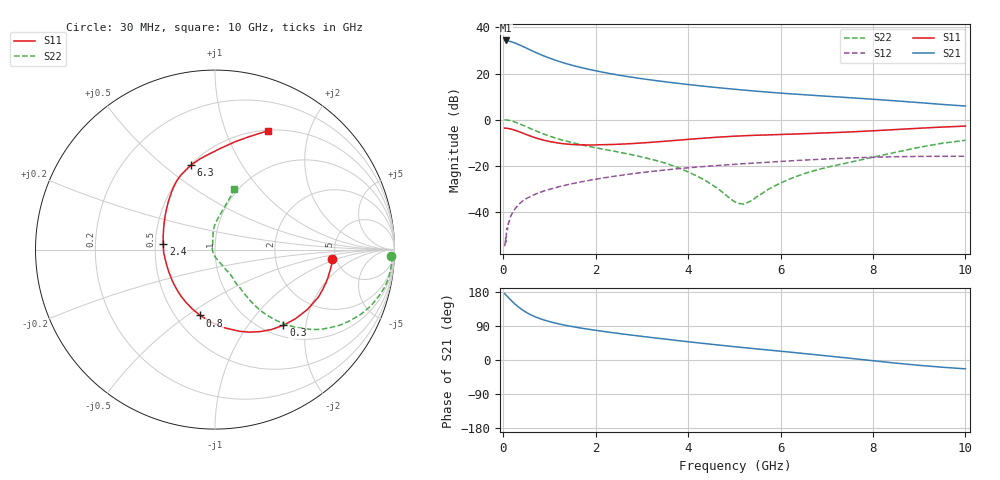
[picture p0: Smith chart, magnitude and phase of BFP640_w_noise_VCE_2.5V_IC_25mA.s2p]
! Infineon Technologies  Discrete & RF Semiconductors
! BFP640
! VCE =  2.5 V,  IC =  25 mA
! Common Emitter S-Parameters:  Apr 2013
# GHz  S  MA  R  50
!  f  S11  S21  S12  S22
! GHz  MAG  ANG  MAG  ANG  MAG  ANG  MAG  ANG
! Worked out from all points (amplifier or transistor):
!   99 points, 30 MHz to 10 GHz, reference 50 ohm
!   highest |S21| = 34.4 dB at 50 MHz (marker M1)
!   |S21| within 3 dB of that: start of sweep to 465.9 MHz
!   unconditionally stable (mu >= 1): 2.46 GHz to end of sweep
!   at 350 MHz: K = 0.32, MSG = 34.5 dB, |S12| = -36.5 dB
!   at 3.5 GHz: K = 1.05, MAG = 17.8 dB, |S12| = -21.9 dB
!   at 10 GHz: K = 1.07, MAG = 9.3 dB, |S12| = -15.9 dB
!   lowest NFmin = 0.95 dB at 450 MHz
!   S11 on the Smith chart (normalised r, x): 30 MHz: 4.63, -0.87; 300 MHz: 1.21, -1.50; 800 MHz: 0.66, -0.56; 2.4 GHz: 0.55, +0.04; 6.3 GHz: 0.51, +0.62; 10 GHz: 0.51, +1.42
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0.03  0.6552 -4.7  52.22 175.3  0.0018 96.5  0.9839 -2.1
0.05  0.6538 -8.3  52.28 173.0  0.0027 87.0  0.9885 -4.5
0.13  0.637 -21.8  50.45 162.4  0.0063 82.4  0.9653 -12.9
0.2  0.613 -33.1  48.15 153.9  0.0095 75.6  0.9254 -19.6
0.25  0.591 -40.7  46.29 148.1  0.0114 76.2  0.89 -23.8
0.3  0.5682 -47.9  44.09 142.9  0.0132 70.7  0.851 -27.7
0.4  0.5207 -61.4  39.77 133.5  0.0165 68.0  0.7728 -34.3
0.5  0.4753 -73.3  35.68 125.6  0.0194 64.3  0.6998 -39.5
0.6  0.4361 -84.1  31.96 119.1  0.0218 63.1  0.6325 -43.5
0.7  0.4024 -93.8  28.76 113.6  0.0243 62.0  0.5749 -46.6
0.8  0.3759 -102.7  25.99 108.9  0.0265 60.5  0.5229 -49.1
1  0.3361 -118.6  21.65 101.4  0.0308 59.0  0.441 -52.6
1.2  0.3101 -132.3  18.45 95.3  0.035 58.1  0.3804 -54.6
1.4  0.2944 -144.2  16.04 90.3  0.0391 57.2  0.3355 -55.7
1.7  0.2832 -159.6  13.39 83.9  0.045 56.0  0.2843 -56.3
2.4  0.2903 173.5  9.632 71.6  0.0591 51.8  0.2064 -58.1
3.4  0.3344 146.4  6.837 56.6  0.079 44.2  0.1225 -62.1
5.1  0.4422 118.0  4.476 34.0  0.109 29.9  0.0152 -159.2
6.3  0.4883 106.0  3.589 19.6  0.1291 19.8  0.0565 102.7
6.7  0.504 101.5  3.373 14.7  0.1355 16.1  0.0767 98.5
8.5  0.6116 79.4  2.555 -8.3  0.1572 -1.9  0.1969 81.7
10  0.7248 65.9  1.975 -23.3  0.1612 -13.9  0.356 72.5
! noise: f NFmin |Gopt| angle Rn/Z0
0.45  0.95  0.16  -171  0.01
0.9  0.96  0.18  -158  0.02
1.5  0.98  0.19  -144  0.04
1.9  1  0.21  -136  0.05
2.4  1.03  0.24  -121  0.06
3.5  1.15  0.26  -104  0.1
5.5  1.35  0.29  -94  0.17
10  1.83  0.59  -53  0.52
